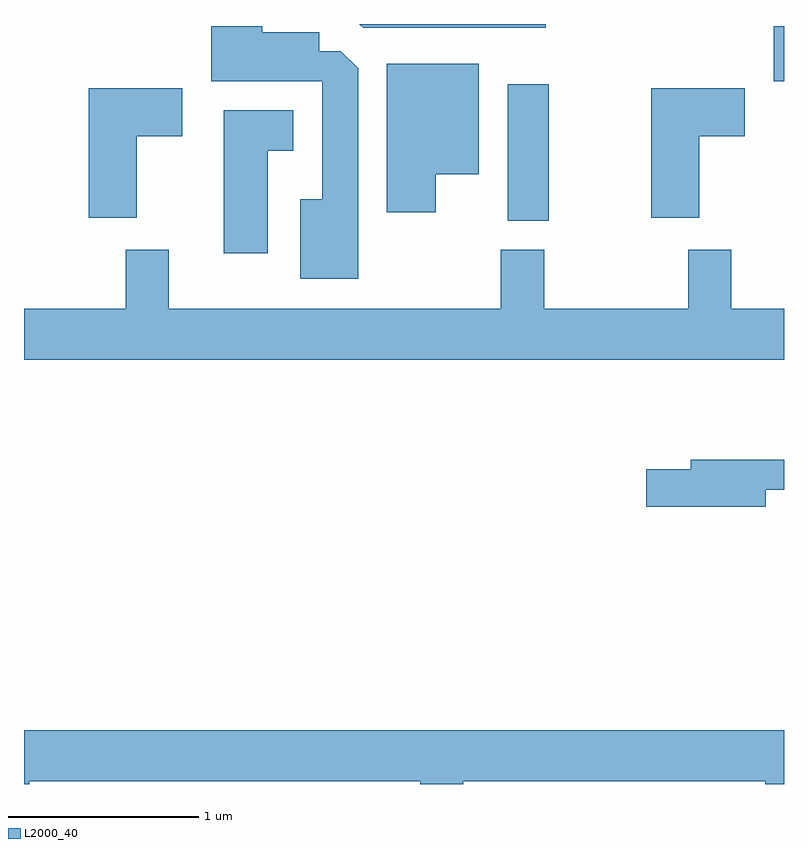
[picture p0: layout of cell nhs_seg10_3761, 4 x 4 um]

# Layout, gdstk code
import gdstk
lib = gdstk.Library(unit=1e-6, precision=1e-09)
def R(c, l, rs):  # rectangles x0, y0, x1, y1
    for r in rs: c.add(gdstk.rectangle(r[:2], r[2:], *l))
def P(c, l, *ps):  # polygons
    for p in ps: c.add(gdstk.Polygon(p, *l))
L2000_40 = (2000, 40)

nhs_seg10_3761 = lib.new_cell('nhs_seg10_3761')
R(nhs_seg10_3761, L2000_40, [(298.156,2163.486,298.374,2164.204), (299.556,2164.221,299.611,2164.509)])
P(nhs_seg10_3761, L2000_40, [(298.358,2164.522),(297.376,2164.522),(297.397,2164.501),(298.358,2164.501)],
  [(297.369,2164.289),(297.279,2164.379),(297.164,2164.379),(297.164,2164.479),(296.864,2164.479),(296.864,2164.509),(296.596,2164.509),(296.596,2164.221),(297.181,2164.221),(297.181,2163.599),(297.066,2163.599),(297.066,2163.181),(297.369,2163.181)],
  [(297.779,2163.731),(298.004,2163.731),(298.004,2164.314),(297.521,2164.314),(297.521,2163.531),(297.779,2163.531)],
  [(296.204,2163.931),(296.444,2163.931),(296.444,2164.184),(295.951,2164.184),(295.951,2163.501),(296.204,2163.501)],
  [(299.164,2163.931),(299.404,2163.931),(299.404,2164.184),(298.911,2164.184),(298.911,2163.501),(299.164,2163.501)],
  [(296.894,2163.856),(297.029,2163.856),(297.029,2164.069),(296.661,2164.069),(296.661,2163.316),(296.894,2163.316)],
  [(299.611,2163.024),(299.334,2163.024),(299.334,2163.334),(299.106,2163.334),(299.106,2163.024),(298.349,2163.024),(298.349,2163.334),(298.121,2163.334),(298.121,2163.024),(296.374,2163.024),(296.374,2163.334),(296.146,2163.334),(296.146,2163.024),(295.611,2163.024),(295.611,2162.756),(299.611,2162.756)],
  [(299.514,2162.071),(299.611,2162.071),(299.611,2162.229),(299.121,2162.229),(299.121,2162.179),(298.886,2162.179),(298.886,2161.981),(299.514,2161.981)],
  [(295.639,2160.536),(297.696,2160.536),(297.696,2160.522),(297.924,2160.522),(297.924,2160.536),(299.511,2160.536),(299.511,2160.522),(299.611,2160.522),(299.611,2160.804),(295.611,2160.804),(295.611,2160.522),(295.639,2160.522)])

lib.write_gds('nhs_seg10_3761.gds')
